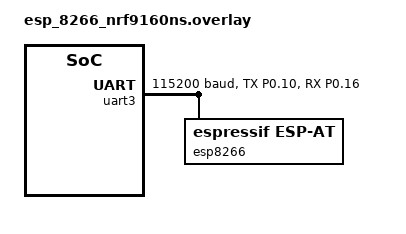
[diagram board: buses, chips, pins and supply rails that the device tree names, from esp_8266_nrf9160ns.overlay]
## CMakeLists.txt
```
#
# Copyright (c) 2021 Nordic Semiconductor
#
# SPDX-License-Identifier: LicenseRef-Nordic-5-Clause
#

cmake_minimum_required(VERSION 3.20)

find_package(Zephyr REQUIRED HINTS $ENV{ZEPHYR_BASE})
project(location_sample)

zephyr_library_sources(src/main.c)
```

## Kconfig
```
#
# Copyright (c) 2021 Nordic Semiconductor ASA
#
# SPDX-License-Identifier: LicenseRef-Nordic-5-Clause
#

menu "Location sample"

endmenu

if NRF_CLOUD_PGPS

configdefault ZMS
	default y if SOC_FLASH_NRF_MRAM

configdefault NVS
	default y if !SOC_FLASH_NRF_MRAM

if ZMS

choice ZMS_LOG_LEVEL_CHOICE
	default ZMS_LOG_LEVEL_WRN
endchoice

endif # ZMS

if NVS

choice NVS_LOG_LEVEL_CHOICE
	default NVS_LOG_LEVEL_WRN
endchoice

endif # NVS

endif # NRF_CLOUD_PGPS

if BUILD_WITH_TFM

choice TFM_PROFILE_TYPE
	default TFM_PROFILE_TYPE_MINIMAL
endchoice

endif # BUILD_WITH_TFM

menu "Zephyr Kernel"
source "Kconfig.zephyr"
endmenu
```

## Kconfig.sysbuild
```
#
# Copyright (c) 2024 Nordic Semiconductor
#
# SPDX-License-Identifier: LicenseRef-Nordic-5-Clause
#

config WIFI_NRF70
	default y if BOARD_THINGY91X_NRF9151_NS

choice WIFI_NRF70_OPER_MODES
	default WIFI_NRF70_SCAN_ONLY if BOARD_THINGY91X_NRF9151_NS
endchoice

source "share/sysbuild/Kconfig"
```

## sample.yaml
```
sample:
  name: location Sample
tests:
  sample.cellular.location:
    sysbuild: true
    build_only: true
    integration_platforms:
      - nrf9151dk/nrf9151/ns
      - nrf9251dk/nrf9251/cpuapp
    platform_allow:
      - nrf9151dk/nrf9151/ns
      - nrf9251dk/nrf9251/cpuapp
      - thingy91x/nrf9151/ns
    tags:
      - ci_build
      - sysbuild
      - ci_samples_cellular
  sample.cellular.location.pgps:
    sysbuild: true
    build_only: true
    extra_args:
      - EXTRA_CONF_FILE=pgps.conf
      - EXTRA_DTC_OVERLAY_FILE=pgps.overlay
    integration_platforms:
      - nrf9151dk/nrf9151/ns
    platform_allow:
      - nrf9151dk/nrf9151/ns
    tags:
      - ci_build
      - sysbuild
      - ci_samples_cellular
  sample.cellular.location.pgps_nrf9251:
    sysbuild: true
    build_only: true
    extra_args:
      - EXTRA_CONF_FILE=pgps.conf
      - EXTRA_DTC_OVERLAY_FILE=nrf9251dk_pgps.overlay
    integration_platforms:
      - nrf9251dk/nrf9251/cpuapp
    platform_allow:
      - nrf9251dk/nrf9251/cpuapp
    tags:
      - ci_build
      - sysbuild
      - ci_samples_cellular
  sample.cellular.location.nrf7002ek_wifi:
    sysbuild: true
    build_only: true
    integration_platforms:
      - nrf9151dk/nrf9151/ns
    platform_allow:
      - nrf9151dk/nrf9151/ns
    extra_args:
      - SHIELD=nrf7002ek_nrf7000
      - EXTRA_CONF_FILE=nrf700x-wifi-scan-only.conf
      - SB_CONFIG_WIFI_NRF70=y
      - SB_CONFIG_WIFI_NRF70_SCAN_ONLY=y
    tags:
      - ci_build
      - sysbuild
      - ci_samples_cellular
  sample.cellular.location.nrf7000ek_wifi:
    sysbuild: true
    build_only: true
    integration_platforms:
      - nrf9151dk/nrf9151/ns
    platform_allow:
      - nrf9151dk/nrf9151/ns
    extra_args:
      - SHIELD=nrf7002ek_nrf7000
      - EXTRA_CONF_FILE=nrf700x-wifi-scan-only.conf
      - CONFIG_WIFI_NM_WPA_SUPPLICANT=n
      - SB_CONFIG_WIFI_NRF70=y
      - SB_CONFIG_WIFI_NRF70_SCAN_ONLY=y
    tags:
      - ci_build
      - sysbuild
      - ci_samples_cellular
  # Configuration which will be used by the CI positioning integration job to verify PRs
  sample.cellular.location.integration_config_positioning:
    sysbuild: true
    build_only: true
    extra_configs:
      - CONFIG_MODEM_ANTENNA_GNSS_EXTERNAL=y
      - CONFIG_LOG_BUFFER_SIZE=2048
    extra_args:
      - location_SNIPPET="nrf91-modem-trace-uart"
      - SB_CONFIG_MERGED_HEX_FILES=y
    integration_platforms:
      - nrf9151dk/nrf9151/ns
    platform_allow:
      - nrf9151dk/nrf9151/ns
    tags:
      - ci_build
      - sysbuild
      - ci_samples_cellular
```

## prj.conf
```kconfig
#
# Copyright (c) 2021 Nordic Semiconductor ASA
#
# SPDX-License-Identifier: LicenseRef-Nordic-5-Clause
#

# General config
CONFIG_FPU=y
CONFIG_NRF_MODEM_LIB=y
CONFIG_NRF_CLOUD_CHECK_CREDENTIALS=y

# Heap and stacks
CONFIG_MAIN_STACK_SIZE=2048
# Extended memory heap size needed for encoding cloud messages to JSON
CONFIG_HEAP_MEM_POOL_SIZE=8192
CONFIG_SYSTEM_WORKQUEUE_STACK_SIZE=1536
# Increase AT monitor heap because %NCELLMEAS notifications can be large
CONFIG_AT_MONITOR_HEAP_SIZE=1024

# Location library
CONFIG_LOCATION=y

# Logging
CONFIG_LOG=y
CONFIG_LOG_MODE_IMMEDIATE=y

# Network
CONFIG_NETWORKING=y
CONFIG_NET_NATIVE=n
CONFIG_NET_SOCKETS=y
CONFIG_NET_SOCKETS_OFFLOAD=y

# LTE link control
CONFIG_LTE_LINK_CONTROL=y
CONFIG_LTE_LC_PSM_MODULE=y
CONFIG_LTE_PSM_REQ=y
# Request periodic TAU of 8 hours
CONFIG_LTE_PSM_REQ_RPTAU="00101000"
# Request PSM active time of 8 seconds.
CONFIG_LTE_PSM_REQ_RAT="00000100"

# AT Host library - Used to send AT commands directy from an UART terminal and to allow
#		    integration with nRF Connect for Desktop's Cellular Monitor application and
#		    onboarding with nRF Cloud Utils.
CONFIG_UART_INTERRUPT_DRIVEN=y
CONFIG_AT_HOST_LIBRARY=y
CONFIG_AT_MONITOR_HEAP_SIZE=4096
CONFIG_AT_HOST_STACK_SIZE=2048

# nRF Cloud CoAP (for A-GNSS and cell location)
CONFIG_NRF_CLOUD=y
CONFIG_NRF_CLOUD_COAP=y
CONFIG_NRF_CLOUD_AGNSS=y
CONFIG_MODEM_INFO=y # required by CONFIG_NRF_CLOUD_AGNSS
CONFIG_MODEM_INFO_ADD_NETWORK=y # required by CONFIG_NRF_CLOUD_AGNSS

# CoAP Client
CONFIG_COAP_CLIENT_BLOCK_SIZE=1024
CONFIG_COAP_CLIENT_STACK_SIZE=2048
CONFIG_COAP_CLIENT_THREAD_PRIORITY=0

# Library that maintains the current date time UTC for A-GNSS and P-GPS purposes
CONFIG_DATE_TIME=y

# Modem JWT
CONFIG_MODEM_JWT=y
```

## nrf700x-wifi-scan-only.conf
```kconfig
#
# Copyright (c) 2022 Nordic Semiconductor ASA
#
# SPDX-License-Identifier: LicenseRef-Nordic-5-Clause
#

# Overlay to use Wi-Fi scanning with one of the following configurations:
# * nRF7002 EK on top of nRF91 Series DK
# * Thingy:91 X

CONFIG_LOCATION_METHOD_WIFI=y
CONFIG_LOCATION_SERVICE_NRF_CLOUD=y

# Align this with CONFIG_NRF_WIFI_SCAN_MAX_BSS_CNT.
# Also see heap allocations.
CONFIG_LOCATION_METHOD_WIFI_SCANNING_RESULTS_MAX_CNT=20

# Actual configs for the Wi-Fi
CONFIG_WIFI=y
CONFIG_WIFI_NRF70=y
CONFIG_WIFI_NRF70_SKIP_LOCAL_ADMIN_MAC=y
# Align this with CONFIG_LOCATION_METHOD_WIFI_SCANNING_RESULTS_MAX_CNT.
# Also see heap allocations.
CONFIG_NRF_WIFI_SCAN_MAX_BSS_CNT=20

# Heap allocations should be changed when CONFIG_LOCATION_METHOD_WIFI_SCANNING_RESULTS_MAX_CNT
# and CONFIG_NRF_WIFI_SCAN_MAX_BSS_CNT (which should be the same value) are changed.
CONFIG_NRF_WIFI_CTRL_HEAP_SIZE=10240
CONFIG_HEAP_MEM_POOL_SIZE=12288
CONFIG_HEAP_MEM_POOL_IGNORE_MIN=y

# Scan only using offload API
CONFIG_WIFI_NM_WPA_SUPPLICANT=n

# For nRF9151 the default is socket interface
CONFIG_NET_DEFAULT_IF_WIFI=y
CONFIG_MBEDTLS=n

# Networking
CONFIG_NET_L2_ETHERNET=y
CONFIG_NET_NATIVE=y
CONFIG_NET_IPV4=y
CONFIG_NET_DHCPV4=y
CONFIG_NET_STATISTICS=y
CONFIG_NET_STATISTICS_WIFI=y
CONFIG_NET_STATISTICS_USER_API=y
CONFIG_NET_CONTEXT_SYNC_RECV=y

# Memory configurations
CONFIG_NET_BUF_RX_COUNT=1
CONFIG_NET_BUF_TX_COUNT=1
CONFIG_NET_PKT_RX_COUNT=1
CONFIG_NET_PKT_TX_COUNT=1
CONFIG_NET_TX_STACK_SIZE=512
CONFIG_NET_RX_STACK_SIZE=512
CONFIG_NET_TC_TX_COUNT=1
CONFIG_NET_MAX_CONTEXTS=1
CONFIG_NET_MGMT_EVENT_STACK_SIZE=1024
```

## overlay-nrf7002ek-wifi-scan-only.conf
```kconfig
#
# Copyright (c) 2022 Nordic Semiconductor ASA
#
# SPDX-License-Identifier: LicenseRef-Nordic-5-Clause
#

# Overlay to use nRF7002 EK on top of nrf9160 DK for Wi-Fi scanning

# Disable modem traces as UART1 is disabled
CONFIG_NRF_MODEM_LIB_TRACE=n

CONFIG_LOCATION_METHOD_WIFI=y
CONFIG_LOCATION_SERVICE_NRF_CLOUD=y

# Align this with CONFIG_NRF_WIFI_SCAN_MAX_BSS_CNT.
# Also see comments for CONFIG_HEAP_MEM_POOL_SIZE.
CONFIG_LOCATION_METHOD_WIFI_SCANNING_RESULTS_MAX_CNT=60
CONFIG_LOCATION_WORKQUEUE_STACK_SIZE=8192

# Actual configs for the Wi-Fi
CONFIG_WIFI=y
CONFIG_WIFI_NRF700X=y
CONFIG_WIFI_NRF700X_SKIP_LOCAL_ADMIN_MAC=y
# Align this with CONFIG_LOCATION_METHOD_WIFI_SCANNING_RESULTS_MAX_CNT.
# Also see comments for CONFIG_HEAP_MEM_POOL_SIZE.
CONFIG_NRF_WIFI_SCAN_MAX_BSS_CNT=60

# Scan only using offload API
CONFIG_WPA_SUPP=n

# For nRF9160 the default is socket interface
CONFIG_NET_DEFAULT_IF_ETHERNET=y
CONFIG_MBEDTLS=n
CONFIG_NORDIC_SECURITY_BACKEND=n

# Networking
CONFIG_NET_L2_ETHERNET=y
CONFIG_NET_NATIVE=y
CONFIG_NET_IPV4=y
CONFIG_NET_DHCPV4=y
CONFIG_NET_STATISTICS=y
CONFIG_NET_STATISTICS_WIFI=y
CONFIG_NET_STATISTICS_USER_API=y
CONFIG_NET_CONTEXT_SYNC_RECV=y

# Disable unused networking options
CONFIG_NET_IPV6=n

# Memory configurations
CONFIG_NET_BUF_RX_COUNT=8
CONFIG_NET_BUF_TX_COUNT=8
CONFIG_NET_PKT_RX_COUNT=1
CONFIG_NET_PKT_TX_COUNT=1
CONFIG_NET_TX_STACK_SIZE=4096
CONFIG_NET_RX_STACK_SIZE=4096
CONFIG_NET_TC_TX_COUNT=1
CONFIG_NET_MAX_CONTEXTS=5
CONFIG_NET_MGMT_EVENT_STACK_SIZE=1024

# Wi-Fi shell sample has 25000 heap size. We need a bit more for location request purposes.
# Heap allocation should be changed when CONFIG_LOCATION_METHOD_WIFI_SCANNING_RESULTS_MAX_CNT
# and CONFIG_NRF_WIFI_SCAN_MAX_BSS_CNT (which should be the same value) are changed.
CONFIG_HEAP_MEM_POOL_SIZE=40000
```

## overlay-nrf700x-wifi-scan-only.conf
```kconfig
#
# Copyright (c) 2022 Nordic Semiconductor ASA
#
# SPDX-License-Identifier: LicenseRef-Nordic-5-Clause
#

# Overlay to use Wi-Fi scanning with one of the following configurations:
# * nRF7002 EK on top of nRF91 Series DK
# * Thingy:91 X

CONFIG_LOCATION_METHOD_WIFI=y
CONFIG_LOCATION_SERVICE_NRF_CLOUD=y

# Align this with CONFIG_NRF_WIFI_SCAN_MAX_BSS_CNT.
# Also see heap allocations.
CONFIG_LOCATION_METHOD_WIFI_SCANNING_RESULTS_MAX_CNT=20

# Actual configs for the Wi-Fi
CONFIG_WIFI=y
CONFIG_WIFI_NRF70=y
CONFIG_WIFI_NRF70_SKIP_LOCAL_ADMIN_MAC=y
# Align this with CONFIG_LOCATION_METHOD_WIFI_SCANNING_RESULTS_MAX_CNT.
# Also see heap allocations.
CONFIG_NRF_WIFI_SCAN_MAX_BSS_CNT=20

# Heap allocations should be changed when CONFIG_LOCATION_METHOD_WIFI_SCANNING_RESULTS_MAX_CNT
# and CONFIG_NRF_WIFI_SCAN_MAX_BSS_CNT (which should be the same value) are changed.
CONFIG_NRF_WIFI_CTRL_HEAP_SIZE=10240
CONFIG_HEAP_MEM_POOL_SIZE=12288
CONFIG_HEAP_MEM_POOL_IGNORE_MIN=y

# Scan only using offload API
CONFIG_WIFI_NM_WPA_SUPPLICANT=n

# For nRF9160 the default is socket interface
CONFIG_NET_DEFAULT_IF_ETHERNET=y
CONFIG_MBEDTLS=n
CONFIG_NORDIC_SECURITY_BACKEND=n

# Networking
CONFIG_NET_L2_ETHERNET=y
CONFIG_NET_NATIVE=y
CONFIG_NET_IPV4=y
CONFIG_NET_DHCPV4=y
CONFIG_NET_STATISTICS=y
CONFIG_NET_STATISTICS_WIFI=y
CONFIG_NET_STATISTICS_USER_API=y
CONFIG_NET_CONTEXT_SYNC_RECV=y

# Memory configurations
CONFIG_NET_BUF_RX_COUNT=1
CONFIG_NET_BUF_TX_COUNT=1
CONFIG_NET_PKT_RX_COUNT=1
CONFIG_NET_PKT_TX_COUNT=1
CONFIG_NET_TX_STACK_SIZE=512
CONFIG_NET_RX_STACK_SIZE=512
CONFIG_NET_TC_TX_COUNT=1
CONFIG_NET_MAX_CONTEXTS=1
CONFIG_NET_MGMT_EVENT_STACK_SIZE=1024
```

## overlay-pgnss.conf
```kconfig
#
# Copyright (c) 2021 Nordic Semiconductor ASA
#
# SPDX-License-Identifier: LicenseRef-Nordic-5-Clause
#

# PGNSS overlay configuration

# PGNSS
CONFIG_NRF_CLOUD_PGNSS=y
CONFIG_NRF_CLOUD_PGNSS_REPLACEMENT_THRESHOLD=4

# Storage for PGNSS
CONFIG_STREAM_FLASH=y
CONFIG_FLASH=y
CONFIG_FLASH_PAGE_LAYOUT=y
CONFIG_FLASH_MAP=y
CONFIG_FCB=y
CONFIG_SETTINGS_FCB=y
CONFIG_MPU_ALLOW_FLASH_WRITE=y

# PGNSS needs more heap
CONFIG_HEAP_MEM_POOL_SIZE=8192

# The extended options length must be increased to perform PGNSS downloads over CoAP.
CONFIG_COAP_EXTENDED_OPTIONS_LEN_VALUE=192
```

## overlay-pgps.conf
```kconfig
#
# Copyright (c) 2021 Nordic Semiconductor ASA
#
# SPDX-License-Identifier: LicenseRef-Nordic-5-Clause
#

# P-GPS overlay configuration

# P-GPS
CONFIG_NRF_CLOUD_REST=y
CONFIG_NRF_CLOUD_PGPS=y
CONFIG_NRF_CLOUD_PGPS_REPLACEMENT_THRESHOLD=4

# Storage for P-GPS
CONFIG_STREAM_FLASH=y
CONFIG_FLASH=y
CONFIG_FLASH_PAGE_LAYOUT=y
CONFIG_FLASH_MAP=y
CONFIG_FCB=y
CONFIG_SETTINGS_FCB=y
CONFIG_MPU_ALLOW_FLASH_WRITE=y

# P-GPS needs more heap
CONFIG_HEAP_MEM_POOL_SIZE=8192

# Download client library stack size needs to be increased with P-GPS
CONFIG_DOWNLOADER_STACK_SIZE=1280
```

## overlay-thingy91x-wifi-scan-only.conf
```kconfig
#
# Copyright (c) 2024 Nordic Semiconductor ASA
#
# SPDX-License-Identifier: LicenseRef-Nordic-5-Clause
#

# Overlay to use nRF7002 inside the Thingy:91 X for Wi-Fi scanning

# Disable modem traces as UART1 is disabled
CONFIG_NRF_MODEM_LIB_TRACE=n

CONFIG_LOCATION_METHOD_WIFI=y
CONFIG_LOCATION_SERVICE_NRF_CLOUD=y

# Align this with CONFIG_NRF_WIFI_SCAN_MAX_BSS_CNT.
# Also see comments for CONFIG_HEAP_MEM_POOL_SIZE.
CONFIG_LOCATION_METHOD_WIFI_SCANNING_RESULTS_MAX_CNT=60
CONFIG_LOCATION_WORKQUEUE_STACK_SIZE=8192

# Actual configs for the Wi-Fi
CONFIG_WIFI=y
CONFIG_WIFI_NRF700X=y
CONFIG_WIFI_NRF700X_SKIP_LOCAL_ADMIN_MAC=y
# Align this with CONFIG_LOCATION_METHOD_WIFI_SCANNING_RESULTS_MAX_CNT.
# Also see comments for CONFIG_HEAP_MEM_POOL_SIZE.
CONFIG_NRF_WIFI_SCAN_MAX_BSS_CNT=60

# System settings
CONFIG_NEWLIB_LIBC=y

# Scan only using offload API
CONFIG_WPA_SUPP=n

# For nRF9160 the default is socket interface
CONFIG_NET_DEFAULT_IF_ETHERNET=y
CONFIG_MBEDTLS=n
CONFIG_NORDIC_SECURITY_BACKEND=n

# Networking
CONFIG_NET_L2_ETHERNET=y
CONFIG_NET_NATIVE=y
CONFIG_NET_IPV4=y
CONFIG_NET_DHCPV4=y
CONFIG_NET_STATISTICS=y
CONFIG_NET_STATISTICS_WIFI=y
CONFIG_NET_STATISTICS_USER_API=y
CONFIG_NET_CONTEXT_SYNC_RECV=y

# Disable unused networking options
CONFIG_NET_IPV6=n

# Memory configurations
CONFIG_NET_BUF_RX_COUNT=8
CONFIG_NET_BUF_TX_COUNT=8
CONFIG_NET_PKT_RX_COUNT=1
CONFIG_NET_PKT_TX_COUNT=1
CONFIG_NET_TX_STACK_SIZE=4096
CONFIG_NET_RX_STACK_SIZE=4096
CONFIG_NET_TC_TX_COUNT=1
CONFIG_NET_MAX_CONTEXTS=5
CONFIG_NET_MGMT_EVENT_STACK_SIZE=1024

# Wi-Fi shell sample has 25000 heap size. We need a bit more for location request purposes.
# Heap allocation should be changed when CONFIG_LOCATION_METHOD_WIFI_SCANNING_RESULTS_MAX_CNT
# and CONFIG_NRF_WIFI_SCAN_MAX_BSS_CNT (which should be the same value) are changed.
CONFIG_HEAP_MEM_POOL_SIZE=40000
```

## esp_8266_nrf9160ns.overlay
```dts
/* Copyright (c) 2021-2022 Nordic Semiconductor ASA
 *
 * SPDX-License-Identifier: LicenseRef-Nordic-5-Clause
 */

 /*
  * DTS overlay to be used with connecting nRF9160DK with ESP8266-01 using
  * esp_at driver.
  *
  * https://en.wikipedia.org/wiki/ESP8266
  *
  * Wiring:
  * - Slide (SW9) to enable 3V mode.
  * - ESP8266 RX → DK P0.10 (TX)
  * - ESP8266 TX → DK P0.16 (RX)
  * - ESP8266 VCC → DK VDD
  * - ESP8266 CH_PD → DK VDD
  * - ESP8266 GND → DK GND.
  *
  * Compilation with SW overlay:
  * 'west build -p -b nrf9160dk_nrf9160_ns -- -DDTC_OVERLAY_FILE=esp_8266_nrf9160ns.overlay -DOVERLAY_CONFIG=overlay-esp-wifi.conf'
  */

&uart3 {
	status = "okay";
	current-speed = <115200>;

	pinctrl-0 = <&uart3_default_alt>;
	pinctrl-1 = <&uart3_sleep_alt>;
	pinctrl-names = "default", "sleep";
	esp8266: esp8266 {
		compatible = "espressif,esp-at";
		status = "okay";
	};
};

&pinctrl {
	uart3_default_alt: uart3_default_alt {
		group1 {
			psels = <NRF_PSEL(UART_TX, 0, 10)>,
				<NRF_PSEL(UART_RX, 0, 16)>;
		};
	};

	uart3_sleep_alt: uart3_sleep_alt {
		group1 {
			psels = <NRF_PSEL(UART_TX, 0, 10)>,
				<NRF_PSEL(UART_RX, 0, 16)>;
			low-power-enable;
		};
	};

};

/ {
	chosen {
		ncs,location-wifi = &esp8266;
	};
};
```

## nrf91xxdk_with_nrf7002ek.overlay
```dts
/*
 * Copyright (c) 2022 Nordic Semiconductor ASA
 *
 * SPDX-License-Identifier: LicenseRef-Nordic-5-Clause
 */

/* Disabled because of conflicts on P0.00 and P0.01 - Arduino pins D0 and D1
 * (iovdd-ctrl-gpios and bucken-gpios in nrf7002ek, respectively). */
&uart1 {
	status = "disabled";
};
```

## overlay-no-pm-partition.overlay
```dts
/*
 * Copyright (c) 2026 Nordic Semiconductor ASA
 *
 * SPDX-License-Identifier: LicenseRef-Nordic-5-Clause
 */

/*
 * DTS overlay for no-Partition-Manager builds without P-GPS storage partition.
 *
 * Provides:
 * - nrf_modem_lib shared-memory node labels required in no-PM mode.
 *
 * Keep flash partitions board-defined in this overlay. Replacing flash partition
 * layouts here causes platform-specific sysbuild/MCUboot failures on Thingy boards.
 */

&sram0_ns_modem {
	#address-cells = <1>;
	#size-cells = <1>;
	ranges = <0x0 0x0 0xa000>;

	cpuapp_cpucell_ipc_shm_ctrl: sram0_ns_modem@0 {
		reg = <0x0 0x728>;
	};

	cpuapp_cpucell_ipc_shm_heap: sram0_ns_modem@728 {
		reg = <0x728 0x20d8>;
	};

	cpucell_cpuapp_ipc_shm_heap: sram0_ns_modem@2800 {
		reg = <0x2800 0x2000>;
	};

	cpucell_cpuapp_ipc_shm_trace: sram0_ns_modem@4800 {
		reg = <0x4800 0x5800>;
	};
};
```

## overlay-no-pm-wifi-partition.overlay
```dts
/*
 * Copyright (c) 2026 Nordic Semiconductor ASA
 *
 * SPDX-License-Identifier: LicenseRef-Nordic-5-Clause
 */

/*
 * DTS overlay for no-Partition-Manager Wi-Fi variants.
 *
 * Provides a larger static slot0 layout for Wi-Fi builds and defines
 * modem shared-memory labels required when PARTITION_MANAGER=n.
 *
 * Flash layout:
 * - slot0_partition: 0x00000000..0x000e0000
 *   - slot0_s_partition:  0x00000000..0x00008000
 *   - slot0_ns_partition: 0x00008000..0x000e0000
 * - storage_partition: 0x000e0000..0x00100000
 */

/delete-node/ &boot_partition;
/delete-node/ &slot0_partition;
/delete-node/ &slot1_partition;
/delete-node/ &tfm_ps_partition;
/delete-node/ &tfm_its_partition;
/delete-node/ &tfm_otp_partition;
/delete-node/ &storage_partition;

&flash0 {
	partitions {
		ranges;
		#address-cells = <1>;
		#size-cells = <1>;

		slot0_partition: partition@0 {
			compatible = "fixed-subpartitions";
			label = "image-0";
			reg = <0x00000000 0x000e0000>;
			ranges = <0x0 0x00000000 0x000e0000>;
			#address-cells = <1>;
			#size-cells = <1>;

			slot0_s_partition: partition@0 {
				compatible = "zephyr,mapped-partition";
				label = "image-0-secure";
				reg = <0x00000000 0x00008000>;
			};

			slot0_ns_partition: partition@8000 {
				compatible = "zephyr,mapped-partition";
				label = "image-0-nonsecure";
				reg = <0x00008000 0x000d8000>;
			};
		};

		storage_partition: partition@e0000 {
			compatible = "zephyr,mapped-partition";
			label = "storage";
			reg = <0x000e0000 0x00020000>;
		};
	};
};

&sram0_ns_modem {
	#address-cells = <1>;
	#size-cells = <1>;
	ranges = <0x0 0x0 0xa000>;

	cpuapp_cpucell_ipc_shm_ctrl: sram0_ns_modem@0 {
		reg = <0x0 0x728>;
	};

	cpuapp_cpucell_ipc_shm_heap: sram0_ns_modem@728 {
		reg = <0x728 0x20d8>;
	};

	cpucell_cpuapp_ipc_shm_heap: sram0_ns_modem@2800 {
		reg = <0x2800 0x2000>;
	};

	cpucell_cpuapp_ipc_shm_trace: sram0_ns_modem@4800 {
		reg = <0x4800 0x5800>;
	};
};
```

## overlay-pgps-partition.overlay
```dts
/*
 * Copyright (c) 2026 Nordic Semiconductor ASA
 *
 * SPDX-License-Identifier: LicenseRef-Nordic-5-Clause
 */

/*
 * DTS overlay adding the P-GPS flash partition for nRF91xx DKs
 * (nrf9151dk, nrf9160dk, nrf9161dk) when Partition Manager is disabled.
 *
 * Flash layout (nRF9160 with 1MB internal flash):
 *   0x00000000..0x000e0000  slot0_partition (image-0, 896 KB)
 *     0x00000000..0x00008000    slot0_s_partition (secure, 32 KB)
 *     0x00008000..0x000e0000    slot0_ns_partition (non-secure, 864 KB)
 *
 *   0x000e0000..0x00100000  storage_partition (128 KB, non-secure, TF-M attribution window)
 *     0x000e0000..0x000e2000    settings_partition (Zephyr settings, 8 KB)
 *     0x000e2000..0x000f6000    pgps_partition (P-GPS data, 80 KB)
 *
 * In no-Partition Manager builds with TF-M, the storage_partition parent node defines
 * the non-secure flash attribution window. TF-M uses TFM_DT_NODELABEL(storage_partition)
 * to mark the entire 128 KB window non-secure via SPU. Child partitions (settings_partition
 * and pgps_partition) are application-level partitioning within that non-secure window,
 * selected via chosen nodes. This allows P-GPS storage and Zephyr settings to coexist
 * and be writable from non-secure code without TF-M attribution issues.
 */

/delete-node/ &boot_partition;
/delete-node/ &slot0_partition;
/delete-node/ &slot1_partition;
/delete-node/ &tfm_ps_partition;
/delete-node/ &tfm_its_partition;
/delete-node/ &tfm_otp_partition;
/delete-node/ &storage_partition;

&flash0 {
	partitions {
		ranges;
		#address-cells = <1>;
		#size-cells = <1>;

		/* Define Secure and Non-Secure areas explicitly. */
		slot0_partition: partition@0 {
			label = "image-0";
			reg = <0x00000000 0x000e0000>;
			ranges = <0x0 0x00000000 0x000e0000>;
			#address-cells = <1>;
			#size-cells = <1>;

			slot0_s_partition: partition@0 {
				compatible = "zephyr,mapped-partition";
				label = "image-0-secure";
				reg = <0x00000000 0x00008000>;
			};

			slot0_ns_partition: partition@8000 {
				compatible = "zephyr,mapped-partition";
				label = "image-0-nonsecure";
				reg = <0x00008000 0x000d8000>;
			};
		};

		storage_partition: partition@e0000 {
			label = "storage";
			reg = <0x000e0000 0x00020000>;
			ranges = <0x0 0x000e0000 0x00020000>;
			#address-cells = <1>;
			#size-cells = <1>;

			settings_partition: partition@0 {
				compatible = "zephyr,mapped-partition";
				label = "settings";
				reg = <0x00000000 0x00002000>;
			};

			pgps_partition: partition@2000 {
				compatible = "zephyr,mapped-partition";
				label = "pgps";
				reg = <0x00002000 0x00014000>;
			};
		};
	};
};

/ {
	chosen {
		zephyr,settings-partition = &settings_partition;
		nordic,pgps-partition = &pgps_partition;
	};
};

&sram0_ns_modem {
	#address-cells = <1>;
	#size-cells = <1>;
	ranges = <0x0 0x0 0xa000>;

	cpuapp_cpucell_ipc_shm_ctrl: sram0_ns_modem@0 {
		reg = <0x0 0x728>;
	};

	cpuapp_cpucell_ipc_shm_heap: sram0_ns_modem@728 {
		reg = <0x728 0x20d8>;
	};

	cpucell_cpuapp_ipc_shm_heap: sram0_ns_modem@2800 {
		reg = <0x2800 0x2000>;
	};
};
```

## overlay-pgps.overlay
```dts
/*
 * Copyright (c) 2026 Nordic Semiconductor ASA
 *
 * SPDX-License-Identifier: LicenseRef-Nordic-5-Clause
 */

/ {
	chosen {
		nordic,pgps_partition = &pgps_partition;
		zephyr,settings_partition = &settings_storage_partition;
	};
};

/delete-node/ &slot0_partition;
/delete-node/ &storage_partition;

&flash0 {
	partitions {
		ranges;
		#address-cells = <1>;
		#size-cells = <1>;

		slot0_partition: partition@0 {
			compatible = "zephyr,mapped-partition";
			label = "image-0";
			reg = <0x00000000 0xe4000>;
			ranges = <0x0 0x00000000 0xe4000>;
			#address-cells = <1>;
			#size-cells = <1>;

			slot0_s_partition: partition@0 {
				compatible = "zephyr,mapped-partition";
				label = "image-0-secure";
				reg = <0x00000000 0x8000>;
			};

			slot0_ns_partition: partition@8000 {
				compatible = "zephyr,mapped-partition";
				label = "image-0-nonsecure";
				reg = <0x00008000 0xdc000>;
			};
		};

		storage_partition: partition@e4000 {
			compatible = "zephyr,mapped-partition";
			label = "storage";
			reg = <0x000e4000 0x1c000>;
			ranges = <0x0 0x000e4000 0x1c000>;
			#address-cells = <1>;
			#size-cells = <1>;

			pgps_partition: partition@0 {
				compatible = "zephyr,mapped-partition";
				label = "pgps";
				reg = <0x00000000 0x14000>;
			};

			settings_storage_partition: partition@14000 {
				compatible = "zephyr,mapped-partition";
				label = "settings-storage";
				reg = <0x000014000 0x8000>;
			};
		};
	};
};
```

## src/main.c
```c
/*
 * Copyright (c) 2021 Nordic Semiconductor ASA
 *
 * SPDX-License-Identifier: LicenseRef-Nordic-5-Clause
 */

#include <string.h>
#include <zephyr/kernel.h>
#include <nrf_modem_at.h>
#include <modem/lte_lc.h>
#include <modem/location.h>
#include <modem/nrf_modem_lib.h>
#include <date_time.h>
#include <net/nrf_cloud.h>
#include <net/nrf_cloud_defs.h>
#include <net/nrf_cloud_coap.h>

static K_SEM_DEFINE(location_event, 0, 1);

static K_SEM_DEFINE(lte_connected, 0, 1);

static K_SEM_DEFINE(time_update_finished, 0, 1);

/* nRF Cloud device ID */
static char device_id[NRF_CLOUD_CLIENT_ID_MAX_LEN + 1];

static bool cred_check(struct nrf_cloud_credentials_status *const cs)
{
	int ret = 0;

	ret = nrf_cloud_credentials_check(cs);
	if (ret) {
		printk("nRF Cloud credentials check failed, error: %d\n", ret);
		return false;
	}

	/* Since this sample uses CoAP, we need two credentials:
	 *  - a CA for the TLS connections
	 *  - a private key to sign the JWT
	 */

	if (!cs->ca || !cs->ca_coap || !cs->prv_key) {
		printk("Missing required nRF Cloud credential(s) in sec tag %u:\n", cs->sec_tag);
	}
	if (!cs->ca || !cs->ca_coap) {
		printk("\t-CA Cert\n");
	}
	if (!cs->prv_key) {
		printk("\t-Private Key\n");
	}

	return (cs->ca && cs->ca_coap && cs->prv_key);
}

static void await_credentials(void)
{
	struct nrf_cloud_credentials_status cs;

	while (!cred_check(&cs)) {
		printk("Waiting for credentials to be installed...\n");
		printk("Press the reset button once the credentials are installed\n");
		k_sleep(K_FOREVER);
	}

	printk("nRF Cloud credentials detected!\n");
}

static void date_time_evt_handler(const struct date_time_evt *evt)
{
	k_sem_give(&time_update_finished);
}

static void lte_event_handler(const struct lte_lc_evt *const evt)
{
	switch (evt->type) {
	case LTE_LC_EVT_NW_REG_STATUS:
		if ((evt->nw_reg_status == LTE_LC_NW_REG_REGISTERED_HOME) ||
		     (evt->nw_reg_status == LTE_LC_NW_REG_REGISTERED_ROAMING)) {
			printk("Connected to LTE\n");
			k_sem_give(&lte_connected);
		}
		break;
	default:
		break;
	}
}

static void location_event_handler(const struct location_event_data *event_data)
{
	switch (event_data->id) {
	case LOCATION_EVT_LOCATION:
		printk("Got location:\n");
		printk("  method: %s\n", location_method_str(event_data->method));
		printk("  latitude: %.06f\n", event_data->location.latitude);
		printk("  longitude: %.06f\n", event_data->location.longitude);
		printk("  accuracy: %.01f m\n", (double)event_data->location.accuracy);
		if (event_data->location.datetime.valid) {
			printk("  date: %04d-%02d-%02d\n",
				event_data->location.datetime.year,
				event_data->location.datetime.month,
				event_data->location.datetime.day);
			printk("  time: %02d:%02d:%02d.%03d UTC\n",
				event_data->location.datetime.hour,
				event_data->location.datetime.minute,
				event_data->location.datetime.second,
				event_data->location.datetime.ms);
		}
		printk("  Google maps URL: https://maps.google.com/?q=%.06f,%.06f\n\n",
			event_data->location.latitude, event_data->location.longitude);
		break;

	case LOCATION_EVT_TIMEOUT:
		printk("Getting location timed out\n\n");
		break;

	case LOCATION_EVT_ERROR:
		printk("Getting location failed\n\n");
		break;

	case LOCATION_EVT_GNSS_ASSISTANCE_REQUEST:
		printk("Getting location assistance requested (A-GNSS). Not doing anything.\n\n");
		break;

	case LOCATION_EVT_GNSS_PREDICTION_REQUEST:
		printk("Getting location assistance requested (PGNSS). Not doing anything.\n\n");
		break;

	default:
		printk("Getting location: Unknown event\n\n");
		break;
	}

	k_sem_give(&location_event);
}

static void location_event_wait(void)
{
	k_sem_take(&location_event, K_FOREVER);
}

/**
 * @brief Retrieve location so that fallback is applied.
 *
 * @details This is achieved by setting GNSS as first priority method and giving it too short
 * timeout. Then a fallback to next method, which is cellular in this example, occurs.
 */
static void location_with_fallback_get(void)
{
	int err;
	struct location_config config;
	enum location_method methods[] = {LOCATION_METHOD_GNSS, LOCATION_METHOD_CELLULAR};

	location_config_defaults_set(&config, ARRAY_SIZE(methods), methods);
	/* GNSS timeout is set to 1 second to force a failure. */
	config.methods[0].gnss.timeout = 1 * MSEC_PER_SEC;
	/* Default cellular configuration may be overridden here. */
	config.methods[1].cellular.timeout = 40 * MSEC_PER_SEC;

	printk("Requesting location with short GNSS timeout to trigger fallback to cellular...\n");

	err = location_request(&config);
	if (err) {
		printk("Requesting location failed, error: %d\n", err);
		return;
	}

	location_event_wait();
}

/**
 * @brief Retrieve location with default configuration.
 *
 * @details This is achieved by not passing configuration at all to location_request().
 */
static void location_default_get(void)
{
	int err;

	printk("Requesting location with the default configuration...\n");

	err = location_request(NULL);
	if (err) {
		printk("Requesting location failed, error: %d\n", err);
		return;
	}

	location_event_wait();
}

/**
 * @brief Retrieve location with GNSS low accuracy.
 */
static void location_gnss_low_accuracy_get(void)
{
	int err;
	struct location_config config;
	enum location_method methods[] = {LOCATION_METHOD_GNSS};

	location_config_defaults_set(&config, ARRAY_SIZE(methods), methods);
	config.methods[0].gnss.accuracy = LOCATION_ACCURACY_LOW;

	printk("Requesting low accuracy GNSS location...\n");

	err = location_request(&config);
	if (err) {
		printk("Requesting location failed, error: %d\n", err);
		return;
	}

	location_event_wait();
}

/**
 * @brief Retrieve location with GNSS high accuracy.
 */
static void location_gnss_high_accuracy_get(void)
{
	int err;
	struct location_config config;
	enum location_method methods[] = {LOCATION_METHOD_GNSS};

	location_config_defaults_set(&config, ARRAY_SIZE(methods), methods);
	config.methods[0].gnss.accuracy = LOCATION_ACCURACY_HIGH;

	printk("Requesting high accuracy GNSS location...\n");

	err = location_request(&config);
	if (err) {
		printk("Requesting location failed, error: %d\n", err);
		return;
	}

	location_event_wait();
}

#if defined(CONFIG_LOCATION_METHOD_WIFI)
/**
 * @brief Retrieve location with Wi-Fi positioning as first priority, GNSS as second
 * and cellular as third.
 */
static void location_wifi_get(void)
{
	int err;
	struct location_config config;
	enum location_method methods[] = {
		LOCATION_METHOD_WIFI,
		LOCATION_METHOD_GNSS,
		LOCATION_METHOD_CELLULAR};

	location_config_defaults_set(&config, ARRAY_SIZE(methods), methods);

	printk("Requesting Wi-Fi location with GNSS and cellular fallback...\n");

	err = location_request(&config);
	if (err) {
		printk("Requesting location failed, error: %d\n", err);
		return;
	}

	location_event_wait();
}
#endif

/**
 * @brief Retrieve location periodically with GNSS as first priority and cellular as second.
 */
static void location_gnss_periodic_get(void)
{
	int err;
	struct location_config config;
	enum location_method methods[] = {LOCATION_METHOD_GNSS, LOCATION_METHOD_CELLULAR};

	location_config_defaults_set(&config, ARRAY_SIZE(methods), methods);
	config.interval = 30;

	printk("Requesting 30s periodic GNSS location with cellular fallback...\n");

	err = location_request(&config);
	if (err) {
		printk("Requesting location failed, error: %d\n", err);
		return;
	}
}

static int setup(void)
{
	int err = 0;

	/* Init modem */
	err = nrf_modem_lib_init();
	if (err) {
		printk("ERROR: Failed to initialize modem library: 0x%X\n", err);
		return -EFAULT;
	}

	/* Ensure device has credentials installed before proceeding */
	await_credentials();

	/* Get the device ID */
	err = nrf_cloud_client_id_get(device_id, sizeof(device_id));
	if (err) {
		printk("Failed to get device ID, error: %d\n", err);
		return err;
	}

	/* Registering early for date_time event handler to avoid missing
	 * the first event after LTE is connected.
	 */
	date_time_register_handler(date_time_evt_handler);

	printk("Connecting to LTE...\n");

	lte_lc_register_handler(lte_event_handler);

	lte_lc_connect();

	k_sem_take(&lte_connected, K_FOREVER);

	/* nRF Cloud CoAP requires login */
	err = nrf_cloud_coap_init();
	if (err) {
		printk("Failed to initialize CoAP client: %d\n", err);
		return err;
	}

	err = nrf_cloud_coap_connect(NULL);
	if (err) {
		printk("Connecting to nRF Cloud failed, error: %d\n", err);
		return err;
	}

	return 0;
}

int main(void)
{
	int err;

	printk("Location sample started\n\n");

	err = setup();
	if (err) {
		printk("ERROR: Setup failed, stopping.\n");
		return err;
	}

	/* A-GNSS/PGNSS needs to know the current time. */
	printk("Waiting for current time\n");

	/* Wait for an event from the Date Time library. */
	k_sem_take(&time_update_finished, K_MINUTES(10));

	if (!date_time_is_valid()) {
		printk("Failed to get current time. Continuing anyway.\n");
	}

	err = location_init(location_event_handler);
	if (err) {
		printk("Initializing the Location library failed, error: %d\n", err);
		return -1;
	}

	/* The fallback case is run first, otherwise GNSS might get a fix even with a 1 second
	 * timeout.
	 */
	location_with_fallback_get();

	location_default_get();

	location_gnss_low_accuracy_get();

	location_gnss_high_accuracy_get();

#if defined(CONFIG_LOCATION_METHOD_WIFI)
	location_wifi_get();
#endif

	location_gnss_periodic_get();

	return 0;
}
```
